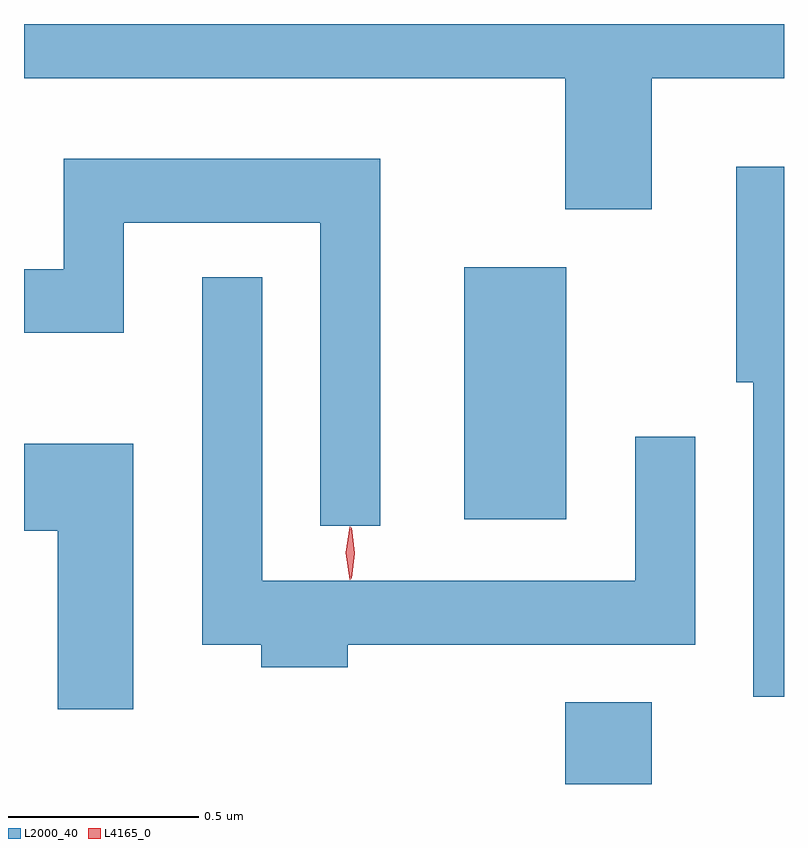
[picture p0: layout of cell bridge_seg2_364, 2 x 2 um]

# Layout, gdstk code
import gdstk
lib = gdstk.Library(unit=1e-6, precision=1e-09)
def R(c, l, rs):  # rectangles x0, y0, x1, y1
    for r in rs: c.add(gdstk.rectangle(r[:2], r[2:], *l))
def P(c, l, *ps):  # polygons
    for p in ps: c.add(gdstk.Polygon(p, *l))
L2000_40 = (2000, 40)
L4165_0 = (4165, 0)

bridge_seg2_364 = lib.new_cell('bridge_seg2_364')
R(bridge_seg2_364, L2000_40, [(466.381,1033.139,466.609,1033.354), (466.116,1033.836,466.384,1034.499)])
P(bridge_seg2_364, L2000_40, [(466.609,1034.996),(466.957,1034.996),(466.957,1035.139),(464.957,1035.139),(464.957,1034.996),(466.381,1034.996),(466.381,1034.651),(466.609,1034.651)],
  [(465.894,1034.784),(465.061,1034.784),(465.061,1034.494),(464.957,1034.494),(464.957,1034.326),(465.219,1034.326),(465.219,1034.616),(465.736,1034.616),(465.736,1033.818),(465.894,1033.818)],
  [(466.957,1034.764),(466.831,1034.764),(466.831,1034.196),(466.876,1034.196),(466.876,1033.368),(466.957,1033.368)],
  [(465.809,1033.506),(466.724,1033.506),(466.724,1034.053),(466.566,1034.053),(466.566,1033.674),(465.584,1033.674),(465.584,1034.473),(465.426,1034.473),(465.426,1033.506),(465.581,1033.506),(465.581,1033.446),(465.809,1033.446)],
  [(465.244,1034.034),(464.957,1034.034),(464.957,1033.806),(465.046,1033.806),(465.046,1033.336),(465.244,1033.336)])
P(bridge_seg2_364, L4165_0, [(465.814,1033.677),(465.814,1033.677),(465.804,1033.747),(465.814,1033.816),(465.814,1033.816),(465.815,1033.816),(465.824,1033.747),(465.815,1033.677)],
  [(465.818,1033.679),(465.818,1033.68),(465.808,1033.746),(465.818,1033.813),(465.818,1033.813),(465.819,1033.813),(465.828,1033.746),(465.819,1033.68)])

lib.write_gds('bridge_seg2_364.gds')
